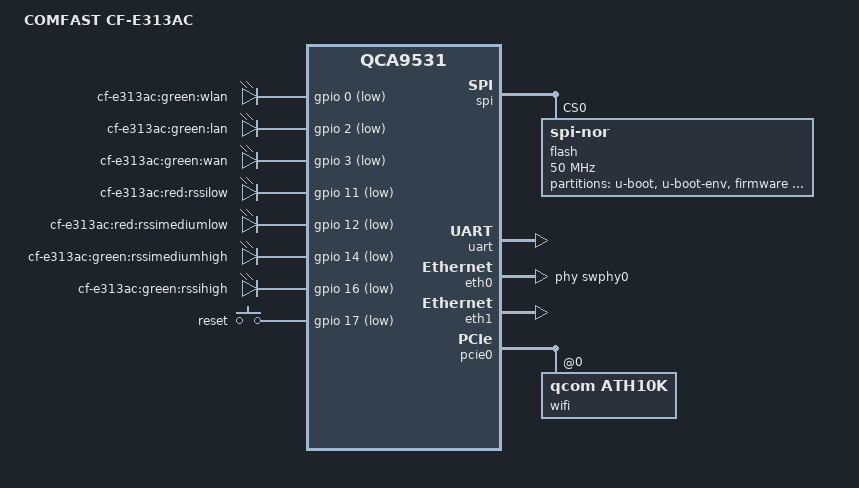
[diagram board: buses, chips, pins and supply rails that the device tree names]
// SPDX-License-Identifier: GPL-2.0-or-later OR MIT
/dts-v1/;

#include <dt-bindings/gpio/gpio.h>
#include <dt-bindings/input/input.h>

#include "qca953x.dtsi"

/ {
	compatible = "comfast,cf-e313ac", "qca,qca9531";
	model = "COMFAST CF-E313AC";

	aliases {
		serial0 = &uart;
		led-boot = &led_rssihigh;
		led-failsafe = &led_rssihigh;
		led-upgrade = &led_rssihigh;
		label-mac-device = &eth1;
	};

	leds {
		compatible = "gpio-leds";
		pinctrl-names = "default";

		wlan {
			label = "cf-e313ac:green:wlan";
			gpios = <&gpio 0 GPIO_ACTIVE_LOW>;
			linux,default-trigger = "phy0tpt";
		};

		lan {
			label = "cf-e313ac:green:lan";
			gpios = <&gpio 2 GPIO_ACTIVE_LOW>;
		};

		wan {
			label = "cf-e313ac:green:wan";
			gpios = <&gpio 3 GPIO_ACTIVE_LOW>;
		};

		rssilow {
			label = "cf-e313ac:red:rssilow";
			gpios = <&gpio 11 GPIO_ACTIVE_LOW>;
		};

		rssimediumlow {
			label = "cf-e313ac:red:rssimediumlow";
			gpios = <&gpio 12 GPIO_ACTIVE_LOW>;
		};

		rssimediumhigh {
			label = "cf-e313ac:green:rssimediumhigh";
			gpios = <&gpio 14 GPIO_ACTIVE_LOW>;
		};

		led_rssihigh: rssihigh {
			label = "cf-e313ac:green:rssihigh";
			gpios = <&gpio 16 GPIO_ACTIVE_LOW>;
		};
	};

	keys {
		compatible = "gpio-keys";

		reset {
			label = "reset";
			linux,code = <KEY_RESTART>;
			gpios = <&gpio 17 GPIO_ACTIVE_LOW>;
			debounce-interval = <60>;
		};
	};
};

&spi {
	status = "okay";

	flash@0 {
		compatible = "jedec,spi-nor";
		reg = <0>;
		spi-max-frequency = <50000000>;

		partitions {
			compatible = "fixed-partitions";
			#address-cells = <1>;
			#size-cells = <1>;

			partition@0 {
				label = "u-boot";
				reg = <0x0 0x40000>;
				read-only;
			};

			partition@40000 {
				label = "u-boot-env";
				reg = <0x40000 0x10000>;
				read-only;
			};

			partition@60000 {
				label = "firmware";
				reg = <0x60000 0xf80000>;
				compatible = "denx,uimage";
			};

			partition@fe0000 {
				label = "factory";
				reg = <0xfe0000 0x10000>;
				compatible = "denx,uimage";
			};
			
			art: partition@ff0000 {
				label = "art";
				reg = <0xff0000 0x10000>;
				read-only;
			};
		};
	};
};


&uart {
	status = "okay";
};

&eth0 {
	status = "okay";
	phy-handle = <&swphy0>;
	mtd-mac-address = <&art 0x1002>;

	gmac-config {
		device = <&gmac>;
		switch-phy-swap = <1>;
	};
};

&eth1 {
	status = "okay";
	mtd-mac-address = <&art 0x0>;
};

&pcie0 {
	status = "okay";

	wifi@0,0 {
		compatible = "qcom,ath10k";
		reg = <0 0 0 0 0>;
	};
};
